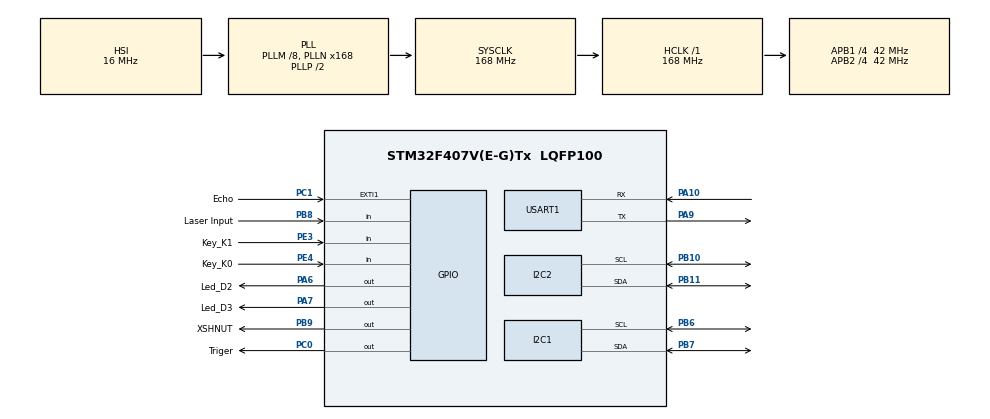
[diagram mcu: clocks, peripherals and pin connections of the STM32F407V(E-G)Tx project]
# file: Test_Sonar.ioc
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I2C1.I2C_Mode=I2C_Standard
I2C2.I2C_Mode=I2C_Standard
Mcu.Family=STM32F4
Mcu.Name=STM32F407V(E-G)Tx
Mcu.Package=LQFP100
NVIC.EXTI1_IRQn=true\:0\:0\:false\:false\:true\:true\:true\:true
NVIC.PriorityGroup=NVIC_PRIORITYGROUP_4
PA10.Mode=Asynchronous
PA10.Signal=USART1_RX
PA13.Mode=Serial_Wire
PA13.Signal=SYS_JTMS-SWDIO
PA14.Mode=Serial_Wire
PA14.Signal=SYS_JTCK-SWCLK
PA6.GPIO_Label=Led_D2
PA6.GPIO_PuPd=GPIO_PULLUP
PA6.PinState=GPIO_PIN_SET
PA6.Signal=GPIO_Output
PA7.GPIO_Label=Led_D3
PA7.GPIO_PuPd=GPIO_PULLUP
PA7.PinState=GPIO_PIN_SET
PA7.Signal=GPIO_Output
PA9.Mode=Asynchronous
PA9.Signal=USART1_TX
PB10.Mode=I2C
PB10.Signal=I2C2_SCL
PB11.Mode=I2C
PB11.Signal=I2C2_SDA
PB6.Mode=I2C
PB6.Signal=I2C1_SCL
PB7.Mode=I2C
PB7.Signal=I2C1_SDA
PB8.GPIO_Label=Laser Input
PB8.GPIO_PuPd=GPIO_PULLDOWN
PB8.Signal=GPIO_Input
PB9.GPIO_Label=XSHNUT
PB9.Signal=GPIO_Output
PC0.GPIO_Label=Triger
PC0.Signal=GPIO_Output
PC1.GPIO_Label=Echo
PC1.GPIO_ModeDefaultEXTI=GPIO_MODE_IT_RISING_FALLING
PC1.GPIO_PuPd=GPIO_PULLDOWN
PC1.Signal=GPXTI1
PE3.GPIO_Label=Key_K1
PE3.GPIO_PuPd=GPIO_PULLUP
PE3.Signal=GPIO_Input
PE4.GPIO_Label=Key_K0
PE4.GPIO_PuPd=GPIO_PULLUP
PE4.Signal=GPIO_Input
PH0-OSC_IN.Mode=HSE-External-Oscillator
PH0-OSC_IN.Signal=RCC_OSC_IN
PH1-OSC_OUT.Mode=HSE-External-Oscillator
PH1-OSC_OUT.Signal=RCC_OSC_OUT
ProjectManager.HeapSize=0x400
ProjectManager.StackSize=0x800
ProjectManager.TargetToolchain=MDK-ARM V5.32
RCC.48MHZClocksFreq_Value=84000000
RCC.AHBFreq_Value=168000000
RCC.APB1CLKDivider=RCC_HCLK_DIV4
RCC.APB1Freq_Value=42000000
RCC.APB1TimFreq_Value=84000000
RCC.APB2CLKDivider=RCC_HCLK_DIV4
RCC.APB2Freq_Value=42000000
RCC.APB2TimFreq_Value=84000000
RCC.CortexFreq_Value=168000000
RCC.HCLKFreq_Value=168000000
RCC.HSE_VALUE=8000000
RCC.HSI_VALUE=16000000
RCC.LSE_VALUE=32768
RCC.PLLM=8
RCC.PLLN=168
RCC.SYSCLKFreq_VALUE=168000000
RCC.SYSCLKSource=RCC_SYSCLKSOURCE_PLLCLK
RCC.VCOOutputFreq_Value=336000000
TIM14.Prescaler=8300
TIM5.Prescaler=8399
TIM6.Prescaler=83
TIM7.Prescaler=83
USART1.VirtualMode=VM_ASYNC
VP_TIM14_VS_ClockSourceINT.Mode=Enable_Timer
VP_TIM5_VS_ClockSourceINT.Mode=Internal
VP_TIM6_VS_ClockSourceINT.Mode=Enable_Timer
VP_TIM7_VS_ClockSourceINT.Mode=Enable_Timer
board=custom

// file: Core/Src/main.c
/* USER CODE BEGIN Header */
/**
  ******************************************************************************
  * @file           : main.c
  * @brief          : Main program body
  ******************************************************************************
  * @attention
  *
  * Copyright (c) 2022 STMicroelectronics.
  * All rights reserved.
  *
  * This software is licensed under terms that can be found in the LICENSE file
  * in the root directory of this software component.
  * If no LICENSE file comes with this software, it is provided AS-IS.
  *
  ******************************************************************************
  */
/* USER CODE END Header */
#include "main.h"
#include "i2c.h"
#include "tim.h"
#include "usart.h"
#include "gpio.h"

/* USER CODE BEGIN Includes */
#include "SR04T_3_func.h"
#include "VL53L0_func.h"
#include "stdlib.h"
#include "stdint.h"
#include "stdio.h"
#include "vl53l0x_api.h"
/* USER CODE END Includes */

/* USER CODE BEGIN PTD */
    uint32_t refSpadCount;
    uint8_t isApertureSpads;
    uint8_t VhvSettings;
    uint8_t PhaseCal;

		uint8_t Message[64];
		uint8_t MessageLen;

		VL53L0X_RangingMeasurementData_t RangingData;
		VL53L0X_Dev_t  vl53l0x_c; // center module
		VL53L0X_DEV    Dev = &vl53l0x_c;

/* USER CODE END PTD */

/* USER CODE BEGIN PV */
double Dist = 0;
char Buffer[100];
uint8_t size = 0;
uint8_t Key_counter = 0;
uint8_t while_inout = 0;
uint8_t n = 50;
/* USER CODE END PV */

void SystemClock_Config(void);
/* USER CODE BEGIN PFP */
void init_LV53L0 (void);
/* USER CODE END PFP */

int main(void)
{

  /* MCU Configuration--------------------------------------------------------*/

  /* Reset of all peripherals, Initializes the Flash interface and the Systick. */
  HAL_Init();

  /* Configure the system clock */
  SystemClock_Config();

  /* Initialize all configured peripherals */
  MX_GPIO_Init();
  MX_TIM6_Init();
  MX_USART1_UART_Init();
  MX_TIM7_Init();
  MX_I2C1_Init();
  MX_I2C2_Init();
  MX_TIM14_Init();
  MX_TIM5_Init();
  /* USER CODE BEGIN 2 */
//uint8_t Message[64];
//uint8_t MessageLen;

//VL53L0X_RangingMeasurementData_t RangingData;
//VL53L0X_Dev_t  vl53l0x_c; // center module
//VL53L0X_DEV    Dev = &vl53l0x_c;

// Dev->I2cHandle = &hi2c1;
//  Dev->I2cDevAddr = 0x52;

//  HAL_GPIO_WritePin(XSHNUT_GPIO_Port, XSHNUT_Pin, GPIO_PIN_RESET); // Disable XSHUT
//  HAL_Delay(20);
//  HAL_GPIO_WritePin(XSHNUT_GPIO_Port, XSHNUT_Pin, GPIO_PIN_SET); // Enable XSHUT
//  HAL_Delay(20);

//  VL53L0X_WaitDeviceBooted( Dev );
//  VL53L0X_DataInit( Dev );
//  VL53L0X_StaticInit( Dev );
//  VL53L0X_PerformRefCalibration(Dev, &VhvSettings, &PhaseCal);
//  VL53L0X_PerformRefSpadManagement(Dev, &refSpadCount, &isApertureSpads);
//  VL53L0X_SetDeviceMode(Dev, VL53L0X_DEVICEMODE_SINGLE_RANGING);

//  // Enable/Disable Sigma and Signal check
//  VL53L0X_SetLimitCheckEnable(Dev, VL53L0X_CHECKENABLE_SIGMA_FINAL_RANGE, 1);
//  VL53L0X_SetLimitCheckEnable(Dev, VL53L0X_CHECKENABLE_SIGNAL_RATE_FINAL_RANGE, 1);
//  VL53L0X_SetLimitCheckValue(Dev, VL53L0X_CHECKENABLE_SIGNAL_RATE_FINAL_RANGE, (FixPoint1616_t)(0.1*65536));
//  VL53L0X_SetLimitCheckValue(Dev, VL53L0X_CHECKENABLE_SIGMA_FINAL_RANGE, (FixPoint1616_t)(60*65536));
//  VL53L0X_SetMeasurementTimingBudgetMicroSeconds(Dev, 33000);
//  VL53L0X_SetVcselPulsePeriod(Dev, VL53L0X_VCSEL_PERIOD_PRE_RANGE, 18);
//  VL53L0X_SetVcselPulsePeriod(Dev, VL53L0X_VCSEL_PERIOD_FINAL_RANGE, 14);
//
//	VL53L0X_PerformSingleRangingMeasurement(Dev, &RangingData);

//	  if(RangingData.RangeStatus == 0)
//	  {
//		  MessageLen = sprintf((char*)Message, "Measured distance: %i\n\r", RangingData.RangeMilliMeter);
//		  HAL_UART_Transmit(&huart1, Message, MessageLen, 100);
//	  }
  /* USER CODE END 2 */

  /* Infinite loop */
  /* USER CODE BEGIN WHILE */
  while (1)
  {
		if(HAL_GPIO_ReadPin(Key_K1_GPIO_Port,Key_K1_Pin) == GPIO_PIN_RESET && Key_counter == 0)//SR04T
			{
			  Led_D2_OFF;
			  Led_D3_OFF;
				while_inout = 0;
				while(while_inout == 0)
				{
//					HAL_TIM_Base_Start(&htim5);
					Dist = Distans_SR04T(Triger_GPIO_Port,Triger_Pin);
//					HAL_TIM_Base_Stop(&htim5);
//					htim5.Instance->CNT = 0;
					HAL_Delay(20);
//					size = sprintf((void*)Buffer,"%f\r\n",(float)Dist);
//					HAL_UART_Transmit(&huart1, (uint8_t*)Buffer, size, 1000);
//					if((HAL_GPIO_ReadPin(Key_K0_GPIO_Port,Key_K0_Pin) == GPIO_PIN_RESET))
//						{
//							HAL_Delay(200);
//							while(HAL_GPIO_ReadPin(Key_K0_GPIO_Port,Key_K0_Pin) == GPIO_PIN_RESET){}
//							while_inout = 1;
//						}
				}
			}
		else if(HAL_GPIO_ReadPin(Key_K1_GPIO_Port,Key_K1_Pin) == GPIO_PIN_RESET && Key_counter == 1)//LV53L0_I2C1
			{
				Led_D2_OFF;
				Led_D3_OFF;
				HAL_Delay(500);
				Led_D2_ON;
				Led_D3_OFF;
				while_inout = 0;
				init_LV53L0();
				while(while_inout == 0)
				{
					VL53L0X_PerformSingleRangingMeasurement(Dev, &RangingData);
					if(RangingData.RangeStatus == 0)
					{
						MessageLen = sprintf((char*)Message, "Measured distance: %i\n\r", RangingData.RangeMilliMeter);
						HAL_UART_Transmit(&huart1, Message, MessageLen, 100);
					}

					if((HAL_GPIO_ReadPin(Key_K0_GPIO_Port,Key_K0_Pin) == GPIO_PIN_RESET))
						{
							HAL_Delay(200);
							while(HAL_GPIO_ReadPin(Key_K0_GPIO_Port,Key_K0_Pin) == GPIO_PIN_RESET){}
							while_inout = 1;
						}
				}
			}
		else if(HAL_GPIO_ReadPin(Key_K1_GPIO_Port,Key_K1_Pin) == GPIO_PIN_RESET && Key_counter == 2)//LV53L0_I2C2
			{
				Led_D2_OFF;
				Led_D3_OFF;
				HAL_Delay(500);
				Led_D2_OFF;
				Led_D3_ON;
				while_inout = 0;
				while(while_inout == 0)
				{
					Dist = Distans_SR04T(Triger_GPIO_Port,Triger_Pin);
					size = sprintf((void*)Buffer,"%f\r\n",(float)Dist);
					HAL_UART_Transmit(&huart1, (uint8_t*)Buffer, size, 1000);

					if((HAL_GPIO_ReadPin(Key_K0_GPIO_Port,Key_K0_Pin) == GPIO_PIN_RESET))
						{
							HAL_Delay(200);
							while(HAL_GPIO_ReadPin(Key_K0_GPIO_Port,Key_K0_Pin) == GPIO_PIN_RESET){}
							while_inout = 1;
						}
				}
			}
		else if(HAL_GPIO_ReadPin(Key_K1_GPIO_Port,Key_K1_Pin) == GPIO_PIN_RESET && Key_counter == 3)//WaveShare Laser Sensor
			{
				Led_D2_OFF;
				Led_D3_OFF;
				HAL_Delay(500);
				Led_D2_ON;
				Led_D3_ON;
				while_inout = 0;
				while(while_inout == 0)
				{
					if(HAL_GPIO_ReadPin(Laser_Input_GPIO_Port,Laser_Input_Pin) == GPIO_PIN_RESET)
							HAL_UART_Transmit(&huart1, (uint8_t*)"See\r\n", sizeof("See\r\n"), 1000);
					else
							HAL_UART_Transmit(&huart1, (uint8_t*)"Dont See\r\n",sizeof("Dont See\r\n"), 1000);
					if((HAL_GPIO_ReadPin(Key_K0_GPIO_Port,Key_K0_Pin) == GPIO_PIN_RESET))
						{
							HAL_Delay(200);
							while(HAL_GPIO_ReadPin(Key_K0_GPIO_Port,Key_K0_Pin) == GPIO_PIN_RESET){}
							while_inout = 1;
						}
				}
			}
		if(HAL_GPIO_ReadPin(Key_K0_GPIO_Port,Key_K0_Pin) == GPIO_PIN_RESET)
			{
				HAL_Delay(200);
				while(HAL_GPIO_ReadPin(Key_K0_GPIO_Port,Key_K0_Pin) == GPIO_PIN_RESET){}
				Key_counter++;
				if(Key_counter > 3)
					Key_counter = 0;

				if(Key_counter == 1)
					{
						Led_D2_ON;
						Led_D3_OFF;
					}
				else if(Key_counter == 2)
					{
						Led_D2_OFF;
						Led_D3_ON;
					}
				else if(Key_counter == 3)
					{
						Led_D2_ON;
						Led_D3_ON;
					}
				else
					{
						Led_D2_OFF;
						Led_D3_OFF;
					}
			}
    /* USER CODE END WHILE */

  }
}

void SystemClock_Config(void)
{
  RCC_OscInitTypeDef RCC_OscInitStruct = {0};
  RCC_ClkInitTypeDef RCC_ClkInitStruct = {0};

  /** Configure the main internal regulator output voltage
  */
  __HAL_RCC_PWR_CLK_ENABLE();
  __HAL_PWR_VOLTAGESCALING_CONFIG(PWR_REGULATOR_VOLTAGE_SCALE1);

  /** Initializes the RCC Oscillators according to the specified parameters
  * in the RCC_OscInitTypeDef structure.
  */
  RCC_OscInitStruct.OscillatorType = RCC_OSCILLATORTYPE_HSI;
  RCC_OscInitStruct.HSIState = RCC_HSI_ON;
  RCC_OscInitStruct.HSICalibrationValue = RCC_HSICALIBRATION_DEFAULT;
  RCC_OscInitStruct.PLL.PLLState = RCC_PLL_ON;
  RCC_OscInitStruct.PLL.PLLSource = RCC_PLLSOURCE_HSI;
  RCC_OscInitStruct.PLL.PLLM = 8;
  RCC_OscInitStruct.PLL.PLLN = 168;
  RCC_OscInitStruct.PLL.PLLP = RCC_PLLP_DIV2;
  RCC_OscInitStruct.PLL.PLLQ = 4;
  if (HAL_RCC_OscConfig(&RCC_OscInitStruct) != HAL_OK)
  {
    Error_Handler();
  }

  /** Initializes the CPU, AHB and APB buses clocks
  */
  RCC_ClkInitStruct.ClockType = RCC_CLOCKTYPE_HCLK|RCC_CLOCKTYPE_SYSCLK
                              |RCC_CLOCKTYPE_PCLK1|RCC_CLOCKTYPE_PCLK2;
  RCC_ClkInitStruct.SYSCLKSource = RCC_SYSCLKSOURCE_PLLCLK;
  RCC_ClkInitStruct.AHBCLKDivider = RCC_SYSCLK_DIV1;
  RCC_ClkInitStruct.APB1CLKDivider = RCC_HCLK_DIV4;
  RCC_ClkInitStruct.APB2CLKDivider = RCC_HCLK_DIV4;

  if (HAL_RCC_ClockConfig(&RCC_ClkInitStruct, FLASH_LATENCY_5) != HAL_OK)
  {
    Error_Handler();
  }
}

/* USER CODE BEGIN 4 */
void init_LV53L0 (void)
{
	Dev->I2cHandle = &hi2c1;
	Dev->I2cDevAddr = 0x52;

  HAL_GPIO_WritePin(XSHNUT_GPIO_Port, XSHNUT_Pin, GPIO_PIN_RESET); // Disable XSHUT
  HAL_Delay(20);
  HAL_GPIO_WritePin(XSHNUT_GPIO_Port, XSHNUT_Pin, GPIO_PIN_SET); // Enable XSHUT
  HAL_Delay(20);

  VL53L0X_WaitDeviceBooted( Dev );
  VL53L0X_DataInit( Dev );
  VL53L0X_StaticInit( Dev );
  VL53L0X_PerformRefCalibration(Dev, &VhvSettings, &PhaseCal);
  VL53L0X_PerformRefSpadManagement(Dev, &refSpadCount, &isApertureSpads);
  VL53L0X_SetDeviceMode(Dev, VL53L0X_DEVICEMODE_SINGLE_RANGING);

  // Enable/Disable Sigma and Signal check
  VL53L0X_SetLimitCheckEnable(Dev, VL53L0X_CHECKENABLE_SIGMA_FINAL_RANGE, 1);
  VL53L0X_SetLimitCheckEnable(Dev, VL53L0X_CHECKENABLE_SIGNAL_RATE_FINAL_RANGE, 1);
  VL53L0X_SetLimitCheckValue(Dev, VL53L0X_CHECKENABLE_SIGNAL_RATE_FINAL_RANGE, (FixPoint1616_t)(0.1*65536));
  VL53L0X_SetLimitCheckValue(Dev, VL53L0X_CHECKENABLE_SIGMA_FINAL_RANGE, (FixPoint1616_t)(60*65536));
  VL53L0X_SetMeasurementTimingBudgetMicroSeconds(Dev, 33000);
  VL53L0X_SetVcselPulsePeriod(Dev, VL53L0X_VCSEL_PERIOD_PRE_RANGE, 18);
  VL53L0X_SetVcselPulsePeriod(Dev, VL53L0X_VCSEL_PERIOD_FINAL_RANGE, 14);
}
/* USER CODE END 4 */

void Error_Handler(void)
{
  __disable_irq();
  while (1)
  {
  }
}
